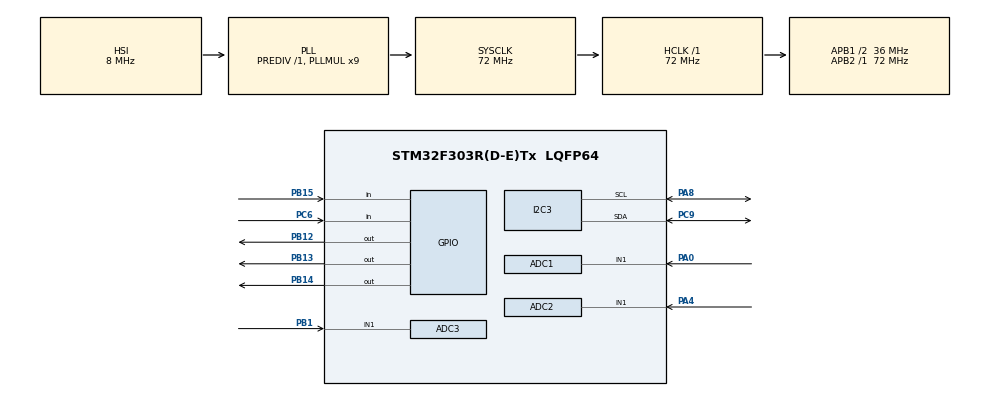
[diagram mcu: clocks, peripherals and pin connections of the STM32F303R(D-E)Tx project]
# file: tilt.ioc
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ADC1.Channel-1\#ChannelRegularConversion=ADC_CHANNEL_1
ADC1.NbrOfConversionFlag=1
ADC1.Offset-1\#ChannelRegularConversion=0
ADC1.OffsetNumber-1\#ChannelRegularConversion=ADC_OFFSET_NONE
ADC1.Rank-1\#ChannelRegularConversion=1
ADC1.SamplingTime-1\#ChannelRegularConversion=ADC_SAMPLETIME_1CYCLE_5
ADC1.master=1
ADC2.Channel-0\#ChannelRegularConversion=ADC_CHANNEL_1
ADC2.NbrOfConversionFlag=1
ADC2.Offset-0\#ChannelRegularConversion=0
ADC2.OffsetNumber-0\#ChannelRegularConversion=ADC_OFFSET_NONE
ADC2.Rank-0\#ChannelRegularConversion=1
ADC2.SamplingTime-0\#ChannelRegularConversion=ADC_SAMPLETIME_1CYCLE_5
ADC3.Channel-0\#ChannelRegularConversion=ADC_CHANNEL_1
ADC3.NbrOfConversionFlag=1
ADC3.Offset-0\#ChannelRegularConversion=0
ADC3.OffsetNumber-0\#ChannelRegularConversion=ADC_OFFSET_NONE
ADC3.Rank-0\#ChannelRegularConversion=1
ADC3.SamplingTime-0\#ChannelRegularConversion=ADC_SAMPLETIME_1CYCLE_5
ADC3.master=1
Mcu.Family=STM32F3
Mcu.Name=STM32F303R(D-E)Tx
Mcu.Package=LQFP64
NVIC.PriorityGroup=NVIC_PRIORITYGROUP_0
PA0.Mode=IN1-Single-Ended
PA0.Signal=ADC1_IN1
PA13.Mode=Serial_Wire
PA13.Signal=SYS_JTMS-SWDIO
PA14.Mode=Serial_Wire
PA14.Signal=SYS_JTCK-SWCLK
PA4.Mode=IN1-Single-Ended
PA4.Signal=ADC2_IN1
PA8.Mode=I2C
PA8.Signal=I2C3_SCL
PB1.Mode=IN1-Single-Ended
PB1.Signal=ADC3_IN1
PB12.Signal=GPIO_Output
PB13.Signal=GPIO_Output
PB14.Signal=GPIO_Output
PB15.Signal=GPIO_Input
PC6.Signal=GPIO_Input
PC9.Mode=I2C
PC9.Signal=I2C3_SDA
ProjectManager.HeapSize=0x200
ProjectManager.StackSize=0x400
ProjectManager.TargetToolchain=MDK-ARM V5
RCC.AHBFreq_Value=72000000
RCC.APB1CLKDivider=RCC_HCLK_DIV2
RCC.APB1Freq_Value=36000000
RCC.APB1TimFreq_Value=72000000
RCC.APB2Freq_Value=72000000
RCC.APB2TimFreq_Value=72000000
RCC.CortexFreq_Value=72000000
RCC.HCLKFreq_Value=72000000
RCC.HSE_VALUE=8000000
RCC.HSI_VALUE=8000000
RCC.LSE_VALUE=32768
RCC.PLLM=8
RCC.PLLMUL=RCC_PLL_MUL9
RCC.PLLN=336
RCC.PLLP=RCC_PLLP_DIV4
RCC.PLLQ=7
RCC.RCC_PLLsource_Clock_Source_FROM_HSE=RCC_HSE_PREDIV_DIV2
RCC.SYSCLKFreq_VALUE=72000000
RCC.SYSCLKSourceVirtual=RCC_SYSCLKSOURCE_PLLCLK
RCC.USBFreq_Value=72000000
VP_TIM8_VS_ClockSourceINT.Mode=Internal
board=NUCLEO-F303RE

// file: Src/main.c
/* USER CODE BEGIN Header */
/**
  ******************************************************************************
  * @file           : main.c
  * @brief          : Main program body
  ******************************************************************************
  * @attention
  *
  * <h2><center>&copy; Copyright (c) 2019 STMicroelectronics.
  * All rights reserved.</center></h2>
  *
  * This software component is licensed by ST under BSD 3-Clause license,
  * the "License"; You may not use this file except in compliance with the
  * License. You may obtain a copy of the License at:
  *                        opensource.org/licenses/BSD-3-Clause
  *
  ******************************************************************************
  */
/* USER CODE END Header */

#include "main.h"

/* USER CODE BEGIN Includes */
#include "TJ_MPU6050.h"
/* USER CODE END Includes */

ADC_HandleTypeDef hadc1;
ADC_HandleTypeDef hadc2;
ADC_HandleTypeDef hadc3;

I2C_HandleTypeDef hi2c3;

TIM_HandleTypeDef htim8;

void SystemClock_Config(void);
static void MX_GPIO_Init(void);
static void MX_I2C3_Init(void);
static void MX_ADC1_Init(void);
static void MX_ADC2_Init(void);
static void MX_ADC3_Init(void);
static void MX_TIM8_Init(void);

/* USER CODE BEGIN 0 */
float gyro_y;
float acc_x;
uint8_t left1,left2;
uint8_t right1,right2;
uint8_t left,right;
uint8_t left_button,right_button;
RawData_Def myAccelRaw, myGyroRaw;
ScaledData_Def myAccelScaled, myGyroScaled;
/* USER CODE END 0 */

int main(void)
{
  /* USER CODE BEGIN 1 */
MPU_ConfigTypeDef myMpuConfig;
  /* USER CODE END 1 */

  /* MCU Configuration--------------------------------------------------------*/

  /* Reset of all peripherals, Initializes the Flash interface and the Systick. */
  HAL_Init();

  /* Configure the system clock */
  SystemClock_Config();

  /* Initialize all configured peripherals */
  MX_GPIO_Init();
  MX_I2C3_Init();
  MX_ADC1_Init();
  MX_ADC2_Init();
  MX_ADC3_Init();
  MX_TIM8_Init();
  /* USER CODE BEGIN 2 */
MPU6050_Init(&hi2c3);
myMpuConfig.Accel_Full_Scale = AFS_SEL_4g;
	myMpuConfig.ClockSource = Internal_8MHz;
	myMpuConfig.CONFIG_DLPF = DLPF_184A_188G_Hz;
	myMpuConfig.Gyro_Full_Scale = FS_SEL_500;
	myMpuConfig.Sleep_Mode_Bit = 0;  //1: sleep mode, 0: normal mode
	MPU6050_Config(&myMpuConfig);

  /* USER CODE END 2 */

  /* Infinite loop */
  while (1)
  {

    /* USER CODE BEGIN 3 */
	//Raw data
		MPU6050_Get_Accel_RawData(&myAccelRaw);
		MPU6050_Get_Gyro_RawData(&myGyroRaw);

		//Scaled data
		MPU6050_Get_Accel_Scale(&myAccelScaled);
		MPU6050_Get_Gyro_Scale(&myGyroScaled);
		gyro_y = myGyroScaled.y;
		acc_x= myAccelRaw.x;

		left_button =HAL_GPIO_ReadPin(GPIOC,GPIO_PIN_6);

		if (HAL_GPIO_ReadPin(GPIOC,GPIO_PIN_6) && left ){

			if(HAL_GPIO_ReadPin(GPIOC,GPIO_PIN_6)){
			HAL_GPIO_TogglePin(GPIOB,GPIO_PIN_13);
				left = false;
			}
		}
		else if (HAL_GPIO_ReadPin(GPIOC,GPIO_PIN_6) == GPIO_PIN_RESET){

			if(HAL_GPIO_ReadPin(GPIOC,GPIO_PIN_6) == GPIO_PIN_RESET){
		left = true;
			}
		}

		right_button =HAL_GPIO_ReadPin(GPIOB,GPIO_PIN_15);

		if (HAL_GPIO_ReadPin(GPIOB,GPIO_PIN_15) && right ){

			if(HAL_GPIO_ReadPin(GPIOB,GPIO_PIN_15)){
			HAL_GPIO_TogglePin(GPIOB,GPIO_PIN_14);
				right = false;
			}
		}
		else if (HAL_GPIO_ReadPin(GPIOB,GPIO_PIN_15) == GPIO_PIN_RESET){

			if(HAL_GPIO_ReadPin(GPIOB,GPIO_PIN_15) == GPIO_PIN_RESET){
		right = true;
			}
		}

	if(acc_x >1200 ){
		HAL_Delay(100);
		if(gyro_y > 9){
		left1 = 1;

		}
		HAL_Delay(100);
		if (left1 ==1 && gyro_y<9){
		left2=1;
			left1=0;

		}
		HAL_Delay(100);
		if(left2==1){
		left2=0;
			HAL_Delay(100);
			HAL_GPIO_WritePin(GPIOB,GPIO_PIN_13,GPIO_PIN_RESET);
		}
	}

		else if(acc_x < -400){
		HAL_Delay(100);

		if(gyro_y < -9){
		right1 = 1;
		}
		HAL_Delay(100);
		if (right1 ==1 && gyro_y> -9){
		right2=1;
			right1=0;
		}
		HAL_Delay(100);
		if(right2==1){
		right2=0;
			HAL_Delay(200);
			HAL_GPIO_WritePin(GPIOB,GPIO_PIN_14,GPIO_PIN_RESET);
		}

	}

  }
  /* USER CODE END 3 */
}

void SystemClock_Config(void)
{
  RCC_OscInitTypeDef RCC_OscInitStruct = {0};
  RCC_ClkInitTypeDef RCC_ClkInitStruct = {0};
  RCC_PeriphCLKInitTypeDef PeriphClkInit = {0};

  /** Initializes the CPU, AHB and APB busses clocks
  */
  RCC_OscInitStruct.OscillatorType = RCC_OSCILLATORTYPE_HSI;
  RCC_OscInitStruct.HSIState = RCC_HSI_ON;
  RCC_OscInitStruct.HSICalibrationValue = RCC_HSICALIBRATION_DEFAULT;
  RCC_OscInitStruct.PLL.PLLState = RCC_PLL_ON;
  RCC_OscInitStruct.PLL.PLLSource = RCC_PLLSOURCE_HSI;
  RCC_OscInitStruct.PLL.PLLMUL = RCC_PLL_MUL9;
  RCC_OscInitStruct.PLL.PREDIV = RCC_PREDIV_DIV1;
  if (HAL_RCC_OscConfig(&RCC_OscInitStruct) != HAL_OK)
  {
    Error_Handler();
  }
  /** Initializes the CPU, AHB and APB busses clocks
  */
  RCC_ClkInitStruct.ClockType = RCC_CLOCKTYPE_HCLK|RCC_CLOCKTYPE_SYSCLK
                              |RCC_CLOCKTYPE_PCLK1|RCC_CLOCKTYPE_PCLK2;
  RCC_ClkInitStruct.SYSCLKSource = RCC_SYSCLKSOURCE_PLLCLK;
  RCC_ClkInitStruct.AHBCLKDivider = RCC_SYSCLK_DIV1;
  RCC_ClkInitStruct.APB1CLKDivider = RCC_HCLK_DIV2;
  RCC_ClkInitStruct.APB2CLKDivider = RCC_HCLK_DIV1;

  if (HAL_RCC_ClockConfig(&RCC_ClkInitStruct, FLASH_LATENCY_2) != HAL_OK)
  {
    Error_Handler();
  }
  PeriphClkInit.PeriphClockSelection = RCC_PERIPHCLK_I2C3|RCC_PERIPHCLK_TIM8
                              |RCC_PERIPHCLK_ADC12|RCC_PERIPHCLK_ADC34;
  PeriphClkInit.Adc12ClockSelection = RCC_ADC12PLLCLK_DIV1;
  PeriphClkInit.Adc34ClockSelection = RCC_ADC34PLLCLK_DIV1;
  PeriphClkInit.I2c3ClockSelection = RCC_I2C3CLKSOURCE_HSI;
  PeriphClkInit.Tim8ClockSelection = RCC_TIM8CLK_HCLK;
  if (HAL_RCCEx_PeriphCLKConfig(&PeriphClkInit) != HAL_OK)
  {
    Error_Handler();
  }
}

static void MX_ADC1_Init(void)
{

  ADC_MultiModeTypeDef multimode = {0};
  ADC_ChannelConfTypeDef sConfig = {0};

  /** Common config
  */
  hadc1.Instance = ADC1;
  hadc1.Init.ClockPrescaler = ADC_CLOCK_ASYNC_DIV1;
  hadc1.Init.Resolution = ADC_RESOLUTION_12B;
  hadc1.Init.ScanConvMode = ADC_SCAN_DISABLE;
  hadc1.Init.ContinuousConvMode = DISABLE;
  hadc1.Init.DiscontinuousConvMode = DISABLE;
  hadc1.Init.ExternalTrigConvEdge = ADC_EXTERNALTRIGCONVEDGE_NONE;
  hadc1.Init.ExternalTrigConv = ADC_SOFTWARE_START;
  hadc1.Init.DataAlign = ADC_DATAALIGN_RIGHT;
  hadc1.Init.NbrOfConversion = 1;
  hadc1.Init.DMAContinuousRequests = DISABLE;
  hadc1.Init.EOCSelection = ADC_EOC_SINGLE_CONV;
  hadc1.Init.LowPowerAutoWait = DISABLE;
  hadc1.Init.Overrun = ADC_OVR_DATA_OVERWRITTEN;
  if (HAL_ADC_Init(&hadc1) != HAL_OK)
  {
    Error_Handler();
  }
  /** Configure the ADC multi-mode
  */
  multimode.Mode = ADC_MODE_INDEPENDENT;
  if (HAL_ADCEx_MultiModeConfigChannel(&hadc1, &multimode) != HAL_OK)
  {
    Error_Handler();
  }
  /** Configure Regular Channel
  */
  sConfig.Channel = ADC_CHANNEL_1;
  sConfig.Rank = ADC_REGULAR_RANK_1;
  sConfig.SingleDiff = ADC_SINGLE_ENDED;
  sConfig.SamplingTime = ADC_SAMPLETIME_1CYCLE_5;
  sConfig.OffsetNumber = ADC_OFFSET_NONE;
  sConfig.Offset = 0;
  if (HAL_ADC_ConfigChannel(&hadc1, &sConfig) != HAL_OK)
  {
    Error_Handler();
  }

}

static void MX_ADC2_Init(void)
{

  ADC_ChannelConfTypeDef sConfig = {0};

  /** Common config
  */
  hadc2.Instance = ADC2;
  hadc2.Init.ClockPrescaler = ADC_CLOCK_ASYNC_DIV1;
  hadc2.Init.Resolution = ADC_RESOLUTION_12B;
  hadc2.Init.ScanConvMode = ADC_SCAN_DISABLE;
  hadc2.Init.ContinuousConvMode = DISABLE;
  hadc2.Init.DiscontinuousConvMode = DISABLE;
  hadc2.Init.ExternalTrigConvEdge = ADC_EXTERNALTRIGCONVEDGE_NONE;
  hadc2.Init.ExternalTrigConv = ADC_SOFTWARE_START;
  hadc2.Init.DataAlign = ADC_DATAALIGN_RIGHT;
  hadc2.Init.NbrOfConversion = 1;
  hadc2.Init.DMAContinuousRequests = DISABLE;
  hadc2.Init.EOCSelection = ADC_EOC_SINGLE_CONV;
  hadc2.Init.LowPowerAutoWait = DISABLE;
  hadc2.Init.Overrun = ADC_OVR_DATA_OVERWRITTEN;
  if (HAL_ADC_Init(&hadc2) != HAL_OK)
  {
    Error_Handler();
  }
  /** Configure Regular Channel
  */
  sConfig.Channel = ADC_CHANNEL_1;
  sConfig.Rank = ADC_REGULAR_RANK_1;
  sConfig.SingleDiff = ADC_SINGLE_ENDED;
  sConfig.SamplingTime = ADC_SAMPLETIME_1CYCLE_5;
  sConfig.OffsetNumber = ADC_OFFSET_NONE;
  sConfig.Offset = 0;
  if (HAL_ADC_ConfigChannel(&hadc2, &sConfig) != HAL_OK)
  {
    Error_Handler();
  }

}

static void MX_ADC3_Init(void)
{

  ADC_MultiModeTypeDef multimode = {0};
  ADC_ChannelConfTypeDef sConfig = {0};

  /** Common config
  */
  hadc3.Instance = ADC3;
  hadc3.Init.ClockPrescaler = ADC_CLOCK_ASYNC_DIV1;
  hadc3.Init.Resolution = ADC_RESOLUTION_12B;
  hadc3.Init.ScanConvMode = ADC_SCAN_DISABLE;
  hadc3.Init.ContinuousConvMode = DISABLE;
  hadc3.Init.DiscontinuousConvMode = DISABLE;
  hadc3.Init.ExternalTrigConvEdge = ADC_EXTERNALTRIGCONVEDGE_NONE;
  hadc3.Init.ExternalTrigConv = ADC_SOFTWARE_START;
  hadc3.Init.DataAlign = ADC_DATAALIGN_RIGHT;
  hadc3.Init.NbrOfConversion = 1;
  hadc3.Init.DMAContinuousRequests = DISABLE;
  hadc3.Init.EOCSelection = ADC_EOC_SINGLE_CONV;
  hadc3.Init.LowPowerAutoWait = DISABLE;
  hadc3.Init.Overrun = ADC_OVR_DATA_OVERWRITTEN;
  if (HAL_ADC_Init(&hadc3) != HAL_OK)
  {
    Error_Handler();
  }
  /** Configure the ADC multi-mode
  */
  multimode.Mode = ADC_MODE_INDEPENDENT;
  if (HAL_ADCEx_MultiModeConfigChannel(&hadc3, &multimode) != HAL_OK)
  {
    Error_Handler();
  }
  /** Configure Regular Channel
  */
  sConfig.Channel = ADC_CHANNEL_1;
  sConfig.Rank = ADC_REGULAR_RANK_1;
  sConfig.SingleDiff = ADC_SINGLE_ENDED;
  sConfig.SamplingTime = ADC_SAMPLETIME_1CYCLE_5;
  sConfig.OffsetNumber = ADC_OFFSET_NONE;
  sConfig.Offset = 0;
  if (HAL_ADC_ConfigChannel(&hadc3, &sConfig) != HAL_OK)
  {
    Error_Handler();
  }

}

static void MX_I2C3_Init(void)
{

  hi2c3.Instance = I2C3;
  hi2c3.Init.Timing = 0x2000090E;
  hi2c3.Init.OwnAddress1 = 0;
  hi2c3.Init.AddressingMode = I2C_ADDRESSINGMODE_7BIT;
  hi2c3.Init.DualAddressMode = I2C_DUALADDRESS_DISABLE;
  hi2c3.Init.OwnAddress2 = 0;
  hi2c3.Init.OwnAddress2Masks = I2C_OA2_NOMASK;
  hi2c3.Init.GeneralCallMode = I2C_GENERALCALL_DISABLE;
  hi2c3.Init.NoStretchMode = I2C_NOSTRETCH_DISABLE;
  if (HAL_I2C_Init(&hi2c3) != HAL_OK)
  {
    Error_Handler();
  }
  /** Configure Analogue filter
  */
  if (HAL_I2CEx_ConfigAnalogFilter(&hi2c3, I2C_ANALOGFILTER_ENABLE) != HAL_OK)
  {
    Error_Handler();
  }
  /** Configure Digital filter
  */
  if (HAL_I2CEx_ConfigDigitalFilter(&hi2c3, 0) != HAL_OK)
  {
    Error_Handler();
  }

}

static void MX_TIM8_Init(void)
{

  TIM_ClockConfigTypeDef sClockSourceConfig = {0};
  TIM_MasterConfigTypeDef sMasterConfig = {0};

  htim8.Instance = TIM8;
  htim8.Init.Prescaler = 0;
  htim8.Init.CounterMode = TIM_COUNTERMODE_UP;
  htim8.Init.Period = 0;
  htim8.Init.ClockDivision = TIM_CLOCKDIVISION_DIV1;
  htim8.Init.RepetitionCounter = 0;
  htim8.Init.AutoReloadPreload = TIM_AUTORELOAD_PRELOAD_DISABLE;
  if (HAL_TIM_Base_Init(&htim8) != HAL_OK)
  {
    Error_Handler();
  }
  sClockSourceConfig.ClockSource = TIM_CLOCKSOURCE_INTERNAL;
  if (HAL_TIM_ConfigClockSource(&htim8, &sClockSourceConfig) != HAL_OK)
  {
    Error_Handler();
  }
  sMasterConfig.MasterOutputTrigger = TIM_TRGO_RESET;
  sMasterConfig.MasterOutputTrigger2 = TIM_TRGO2_RESET;
  sMasterConfig.MasterSlaveMode = TIM_MASTERSLAVEMODE_DISABLE;
  if (HAL_TIMEx_MasterConfigSynchronization(&htim8, &sMasterConfig) != HAL_OK)
  {
    Error_Handler();
  }

}

static void MX_GPIO_Init(void)
{
  GPIO_InitTypeDef GPIO_InitStruct = {0};

  /* GPIO Ports Clock Enable */
  __HAL_RCC_GPIOA_CLK_ENABLE();
  __HAL_RCC_GPIOB_CLK_ENABLE();
  __HAL_RCC_GPIOC_CLK_ENABLE();

  /*Configure GPIO pin Output Level */
  HAL_GPIO_WritePin(GPIOB, GPIO_PIN_12|GPIO_PIN_13|GPIO_PIN_14, GPIO_PIN_RESET);

  /*Configure GPIO pins : PB12 PB13 PB14 */
  GPIO_InitStruct.Pin = GPIO_PIN_12|GPIO_PIN_13|GPIO_PIN_14;
  GPIO_InitStruct.Mode = GPIO_MODE_OUTPUT_PP;
  GPIO_InitStruct.Pull = GPIO_NOPULL;
  GPIO_InitStruct.Speed = GPIO_SPEED_FREQ_LOW;
  HAL_GPIO_Init(GPIOB, &GPIO_InitStruct);

  /*Configure GPIO pin : PB15 */
  GPIO_InitStruct.Pin = GPIO_PIN_15;
  GPIO_InitStruct.Mode = GPIO_MODE_INPUT;
  GPIO_InitStruct.Pull = GPIO_NOPULL;
  HAL_GPIO_Init(GPIOB, &GPIO_InitStruct);

  /*Configure GPIO pin : PC6 */
  GPIO_InitStruct.Pin = GPIO_PIN_6;
  GPIO_InitStruct.Mode = GPIO_MODE_INPUT;
  GPIO_InitStruct.Pull = GPIO_NOPULL;
  HAL_GPIO_Init(GPIOC, &GPIO_InitStruct);

}

void Error_Handler(void)
{
}

/************************ (C) COPYRIGHT STMicroelectronics *****END OF FILE****/
